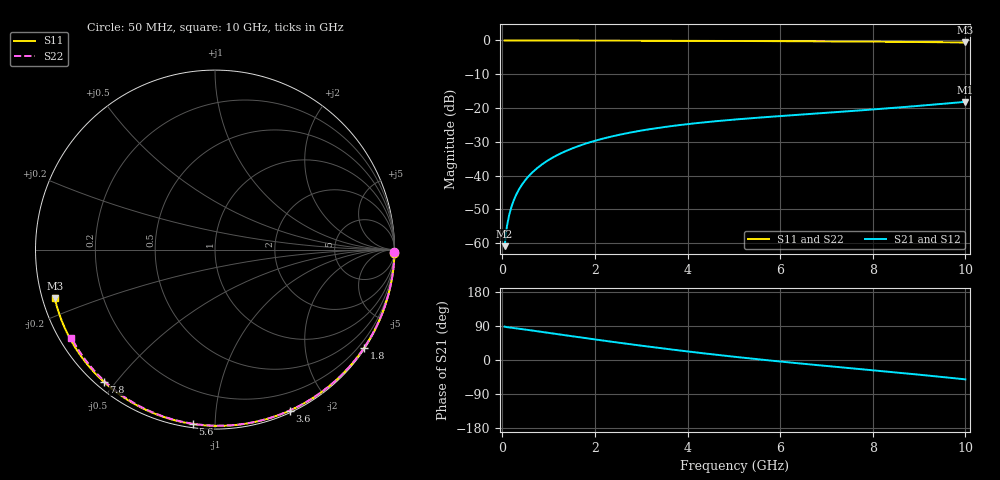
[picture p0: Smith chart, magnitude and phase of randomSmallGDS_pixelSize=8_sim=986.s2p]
! freq	dB(S11)	phase(S11)	dB(S12)	phase(S12)
!  dB(S21)	phase(S21)	dB(S22)	phase(S22)
!S-par simulation data
#  GHz  S  DB  R 50
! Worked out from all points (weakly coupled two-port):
!   200 points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, 50 MHz to 10 GHz, reference 50 ohm
!   highest |S21| = -18.18 dB at 10 GHz (marker M1); lowest = -60.9 dB at 50 MHz (marker M2)
!   lowest |S11| = -0.6 dB at 10 GHz (marker M3), VSWR 29.05, Z = 1.76 - j7.44 ohm
!   |S11| at or under -10 dB: nowhere
!   |S22| runs from -0.6 to 0.0 dB; largest |S21 - S12| = 0
!   S11 on the Smith chart (normalised r, x): 50 MHz: open; 1.8 GHz: 0.03, -3.32; 3.6 GHz: 0.02, -1.57; 5.6 GHz: 0.02, -0.88; 7.8 GHz: 0.02, -0.46; 10 GHz: 0.04, -0.15
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0.05  -0.00 -1.0  -60.92 88.0  -60.92 88.0  -0.00 -0.9
0.1  -0.00 -1.9  -55.03 86.7  -55.03 86.7  -0.00 -1.8
0.15  -0.00 -2.8  -51.60 85.8  -51.60 85.8  -0.00 -2.6
0.2  -0.00 -3.8  -49.15 85.1  -49.15 85.1  -0.00 -3.5
0.35  -0.01 -6.6  -44.37 82.7  -44.37 82.7  -0.00 -6.1
0.5  -0.01 -9.5  -41.31 80.3  -41.31 80.3  -0.01 -8.7
0.7  -0.02 -13.2  -38.43 76.8  -38.43 76.8  -0.01 -12.2
1  -0.02 -18.8  -35.40 71.6  -35.40 71.6  -0.02 -17.4
1.35  -0.03 -25.3  -32.89 65.5  -32.89 65.5  -0.03 -23.3
1.75  -0.04 -32.6  -30.77 58.6  -30.77 58.6  -0.04 -30.1
1.8  -0.05 -33.5  -30.55 57.7  -30.55 57.7  -0.04 -30.9
2.6  -0.07 -47.8  -27.72 44.3  -27.72 44.3  -0.06 -44.2
3.4  -0.09 -61.7  -25.83 31.6  -25.83 31.6  -0.09 -57.0
3.6  -0.10 -65.1  -25.45 28.5  -25.45 28.5  -0.09 -60.1
4.3  -0.12 -76.7  -24.33 18.3  -24.33 18.3  -0.11 -70.9
5.05  -0.15 -88.7  -23.39 8.0  -23.39 8.0  -0.14 -82.0
5.6  -0.18 -97.3  -22.79 0.9  -22.79 0.9  -0.17 -89.9
6.7  -0.24 -113.9  -21.72 -12.3  -21.72 -12.3  -0.23 -105.2
7.8  -0.33 -130.1  -20.64 -24.9  -20.64 -24.9  -0.31 -119.9
8.35  -0.39 -138.2  -20.07 -31.1  -20.07 -31.1  -0.36 -127.1
9.2  -0.49 -150.8  -19.13 -41.1  -19.13 -41.1  -0.45 -138.1
10  -0.60 -163.1  -18.18 -51.1  -18.18 -51.1  -0.55 -148.5
